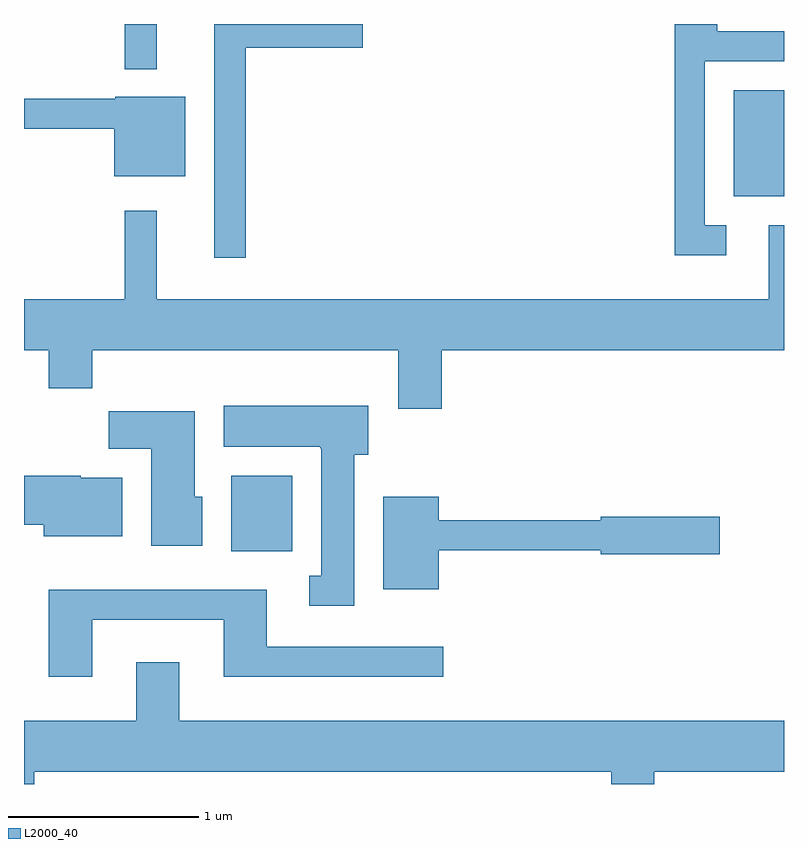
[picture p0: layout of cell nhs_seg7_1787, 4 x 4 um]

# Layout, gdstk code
import gdstk
lib = gdstk.Library(unit=1e-6, precision=1e-09)
def R(c, l, rs):  # rectangles x0, y0, x1, y1
    for r in rs: c.add(gdstk.rectangle(r[:2], r[2:], *l))
def P(c, l, *ps):  # polygons
    for p in ps: c.add(gdstk.Polygon(p, *l))
L2000_40 = (2000, 40)

nhs_seg7_1787 = lib.new_cell('nhs_seg7_1787')
R(nhs_seg7_1787, L2000_40, [(240.701,1715.476,241.024,1715.874), (243.346,1717.346,243.611,1717.904), (240.141,1718.013,240.309,1718.252)])
P(nhs_seg7_1787, L2000_40, [(243.308,1717.194),(243.194,1717.194),(243.194,1718.056),(243.611,1718.056),(243.611,1718.214),(243.259,1718.214),(243.259,1718.252),(243.036,1718.252),(243.036,1717.036),(243.308,1717.036)],
  [(240.779,1718.126),(241.394,1718.126),(241.394,1718.252),(240.611,1718.252),(240.611,1717.023),(240.779,1717.023)],
  [(240.459,1717.869),(240.09,1717.869),(240.09,1717.859),(239.611,1717.859),(239.611,1717.701),(240.086,1717.701),(240.086,1717.451),(240.459,1717.451)],
  [(241.809,1716.536),(243.611,1716.536),(243.611,1717.194),(243.531,1717.194),(243.531,1716.804),(240.309,1716.804),(240.309,1717.268),(240.141,1717.268),(240.141,1716.804),(239.611,1716.804),(239.611,1716.536),(239.741,1716.536),(239.741,1716.336),(239.969,1716.336),(239.969,1716.536),(241.581,1716.536),(241.581,1716.226),(241.809,1716.226)],
  [(241.349,1715.986),(241.424,1715.986),(241.424,1716.244),(240.661,1716.244),(240.661,1716.026),(241.17,1716.026),(241.17,1716.02),(241.176,1716.02),(241.176,1715.349),(241.113,1715.349),(241.113,1715.191),(241.349,1715.191)],
  [(240.549,1715.764),(240.509,1715.764),(240.509,1716.214),(240.056,1716.214),(240.056,1716.016),(240.281,1716.016),(240.281,1715.506),(240.549,1715.506)],
  [(240.129,1715.864),(239.91,1715.864),(239.91,1715.874),(239.611,1715.874),(239.611,1715.616),(239.716,1715.616),(239.716,1715.556),(240.129,1715.556)],
  [(241.794,1715.481),(242.646,1715.481),(242.646,1715.461),(243.274,1715.461),(243.274,1715.659),(242.646,1715.659),(242.646,1715.639),(241.794,1715.639),(241.794,1715.764),(241.501,1715.764),(241.501,1715.276),(241.794,1715.276)],
  [(239.969,1715.116),(240.661,1715.116),(240.661,1714.816),(241.818,1714.816),(241.818,1714.974),(240.889,1714.974),(240.889,1715.274),(239.741,1715.274),(239.741,1714.816),(239.969,1714.816)],
  [(239.664,1714.316),(242.701,1714.316),(242.701,1714.252),(242.929,1714.252),(242.929,1714.316),(243.611,1714.316),(243.611,1714.584),(240.429,1714.584),(240.429,1714.894),(240.201,1714.894),(240.201,1714.584),(239.611,1714.584),(239.611,1714.252),(239.664,1714.252)])

lib.write_gds('nhs_seg7_1787.gds')
